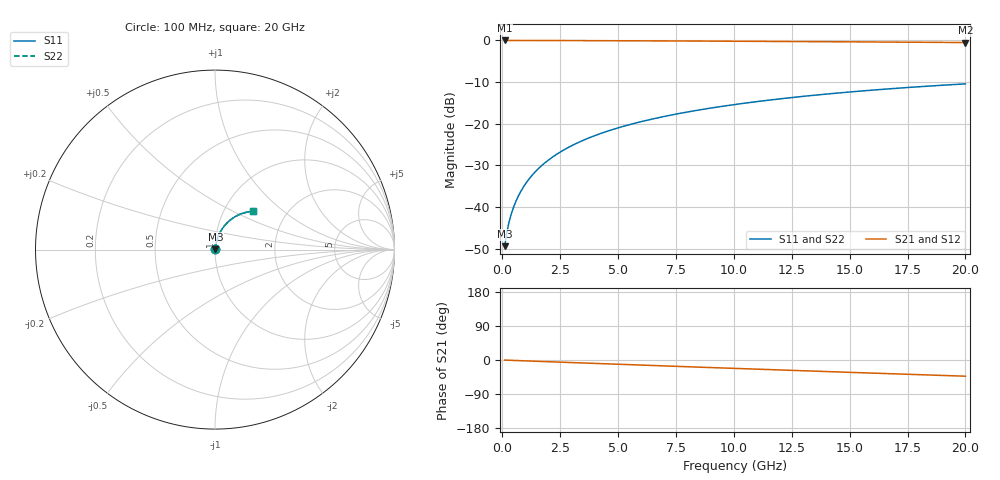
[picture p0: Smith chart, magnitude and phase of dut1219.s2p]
! Touchstone file exported from HFSS 2026.1.0
!  File:  C:/ffzhzh/LocalFiles/Ansys_Project_Files/temp_train_BSMRDL_1219_1783176794_51560.aedt
!  Generated:  10:54:23 PM Jul  4, 2026
!  Design:  BSMRDL
!  Project:  temp_train_BSMRDL_1219_1783176794_51560
! Variables:
!  h_bsmrdl = 4.04um
!  h_ox = 20um
!  h_rdl = 5um
!  h_sub = 80um
!  h_tmrdl = 5um
!  h_tsv = 80um
!  h_via = 3um
!  l_bsmrdl = 677.27um
!  l_sub = 1077.27um
!  l_tmrdl = 200um
!  m_sub = 200um
!  pitch = 43.02um
!  r_tsv = 6um
!  s_tmrdl = 10um
!  w_bsmrdl = 24.81um
!  w_sub = 500um
!  w_tmrdl = 12um
!  x_tsv_center1 = 206um
!  x_tsv_center2 = 908.08um
!  x_tsv_center3 = 1120.08um
!  x_tsv_center4 = 1822.16um
!  x_tsv_center5 = 2034.16um
!  x_tsv_center6 = 2736.24um
# GHz S MA R 50.000000
! Terminal data exported
! Port[1] = BSM_RDL1_1_T1
! Port[2] = BSM_RDL1_1_T2
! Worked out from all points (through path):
!   200 points, 100 MHz to 20 GHz, reference 50 ohm
!   highest |S21| = -0.02 dB at 100 MHz (marker M1); lowest = -0.5 dB at 20 GHz (marker M2)
!   group delay of S21, straight-line fit = 5.93 ps
!   lowest |S11| = -49.4 dB at 100 MHz (marker M3), VSWR 1.01, Z = 50.3 + j0.212 ohm
!   |S11| at or under -10 dB: start of sweep to end of sweep
!   |S22| runs from -49.4 to -10.4 dB; largest |S21 - S12| = 2.1e-15
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0.1  0.00338 38.7  0.9974 -0.2  0.9974 -0.2  0.00338 38.7
! Gamma 0 0 0 0
! Port Impedance 50 0 50 0
0.2  0.005004 55.1  0.9972 -0.5  0.9972 -0.5  0.005004 55.1
0.3  0.006731 62.5  0.997 -0.7  0.997 -0.7  0.006732 62.5
0.4  0.008451 66.8  0.9968 -0.9  0.9968 -0.9  0.008452 66.8
0.5  0.01017 69.8  0.9967 -1.2  0.9967 -1.2  0.01017 69.8
0.6  0.01189 72.0  0.9966 -1.4  0.9966 -1.4  0.01189 72.0
0.8  0.01537 74.9  0.9964 -1.8  0.9964 -1.8  0.01537 74.9
1.1  0.02066 77.2  0.9962 -2.5  0.9962 -2.5  0.02066 77.2
1.3  0.02421 78.1  0.996 -3.0  0.996 -3.0  0.02421 78.1
1.6  0.02955 78.8  0.9958 -3.6  0.9958 -3.6  0.02955 78.8
2.1  0.03847 79.1  0.9952 -4.8  0.9952 -4.8  0.03847 79.1
2.7  0.04912 78.7  0.9944 -6.1  0.9944 -6.1  0.04912 78.7
3.5  0.06318 77.6  0.9931 -7.9  0.9931 -7.9  0.06318 77.6
4.2  0.07532 76.4  0.9917 -9.5  0.9917 -9.5  0.07532 76.4
5  0.08897 74.9  0.99 -11.2  0.99 -11.2  0.08897 74.9
5.9  0.1041 73.1  0.9879 -13.2  0.9879 -13.2  0.1041 73.1
6.8  0.1188 71.3  0.9857 -15.2  0.9857 -15.2  0.1188 71.3
8.3  0.1428 68.3  0.9816 -18.4  0.9816 -18.4  0.1428 68.3
10.1  0.1706 64.7  0.9763 -22.3  0.9763 -22.3  0.1706 64.7
13.4  0.2183 58.1  0.9656 -29.3  0.9656 -29.3  0.2184 58.1
16.7  0.2617 51.5  0.954 -36.1  0.954 -36.1  0.2618 51.5
20  0.3003 45.1  0.9421 -42.7  0.9421 -42.7  0.3004 45.1
